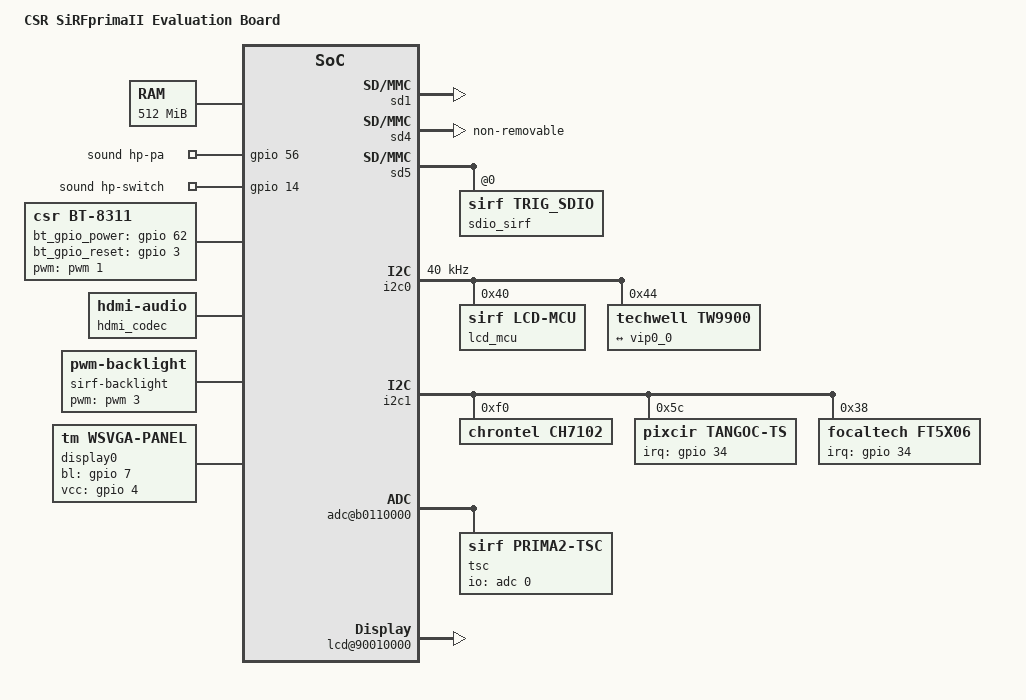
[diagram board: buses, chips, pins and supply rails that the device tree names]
/*
 * DTS file for CSR SiRFprimaII Evaluation Board
 *
 * Copyright (c) 2012 Cambridge Silicon Radio Limited, a CSR plc group company.
 *
 * Licensed under GPLv2 or later.
 */

/dts-v1/;

/include/ "prima2.dtsi"

/ {
	model = "CSR SiRFprimaII Evaluation Board";
	compatible = "sirf,prima2", "sirf,prima2-cb";

	memory {
		reg = <0x00000000 0x20000000>;
	};
	sound {
		compatible = "sirf,sirf-inner";
		sirf,inner-codec = <&audio>;
		sirf,inner-platform = <&audio>;
		hp-pa-gpios = <&gpio 56 0>;
		hp-switch-gpios = <&gpio 14 0>;
	};

	bt {
		compatible = "csr,bt-8311";
		bt_gpio_power = <&gpio 62 0>;
		bt_gpio_reset = <&gpio 3 0>;
		pinctrl-names = "default";
		pinctrl-0 = <&pwm1_pins_a>;
		pwms = <&pwm 1 30518>;
	};

	bt_sco: bt_sco@0 {
		#sound-dai-cells = <0>;
		compatible = "bt-sco";
		status = "okay";
	};

	sirf-bt-sco {
		compatible = "simple-audio-card";
		simple-audio-card,format = "dsp_a";
		simple-audio-card,cpu {
			sound-dai = <&usp0>;
		};
		simple-audio-card,codec {
			sound-dai = <&bt_sco>;
			bitclock-master;
			frame-master;
		};
	};

	hdmi_codec: hdmi_codec@0 {
		#sound-dai-cells = <0>;
		compatible = "linux,hdmi-audio";
		status = "okay";
	};

	sirf-hdmi {
		compatible = "simple-audio-card";
		simple-audio-card,format = "i2s";
		simple-audio-card,cpu {
			sound-dai = <&i2s>;
		};
		simple-audio-card,codec {
			sound-dai = <&hdmi_codec>;
			bitclock-master;
			frame-master;
		};
	};

	sirf-backlight {
		compatible = "pwm-backlight";
		pinctrl-names = "default";
		pinctrl-0 = <&pwm3_pins_a>;
		pwms = <&pwm 3 50000>;
		brightness-levels = <0 48 56 64 96 112 128 255>;
		default-brightness-level = <6>;
	};
	axi {
		peri-iobg {
			pci-iobg {
				sd1: sdhci@56100000 {
					status = "okay";
					pinctrl-names = "default";
					pinctrl-0 = <&sdmmc1_pins_a>;
				};
				sd4: sdhci@56400000 {
					status = "okay";
					non-removable;
					cap-power-off-card;
					pinctrl-names = "default";
					pinctrl-0 = <&sdmmc4_pins_a>;
				};
				sd5: sdhci@56500000 {
					status = "okay";
					pinctrl-names = "default";
					pinctrl-0 = <&sdmmc5_pins_a>;
					#address-cells = <1>;
					#size-cells = <0>;
					sdio_sirf@0 {
						compatible = "sirf,trig_sdio";
						reg = <0x0>;
					};
				};
			};

			uart@b0050000 {
				pinctrl-names = "default";
				pinctrl-0 = <&uart0_pins_a>;
				sirf,uart-has-rtscts;
			};
			uart@b0060000 {
				pinctrl-names = "default";
				pinctrl-0 = <&uart1_pins_a>;
			};
			usp@b0080000 {
				#sound-dai-cells = <0>;
				compatible = "sirf,prima2-usp-pcm";
				pinctrl-names = "default";
				pinctrl-0 = <&usp0_only_utfs_pins_a>;
			};
			usp@b0090000 {
				pinctrl-names = "default";
				pinctrl-0 = <&usp1_uart_nostreamctrl_pins_a>;
			};
			vip@b00C0000 {
				status = "okay";
				pinctrl-names = "default";
				pinctrl-0 = <&vip_pins_a>;
				power-gpio = <&gpio 9 0>;
				reset-gpio = <&gpio 12 0>;
				rearview-gpio = <&gpio 31 0>;
				port {
					#address-cells = <1>;
					#size-cells = <0>;
					vip0_0: endpoint@0 {
						reg = <0>;
						remote-endpoint = <&tw9900_1>;
						data-shift = <1>;	/* select pxd_data[7:0] as valid data */
					};
				};
			};
			i2c0: i2c@b00e0000 {
				status = "okay";
				pinctrl-names = "default";
				pinctrl-0 = <&i2c0_pins_a>;
				clock-frequency = <40000>;
				lcd_mcu: lcd_mcu@40{
					compatible = "sirf,lcd-mcu";
					reg = <0x40>;
				};
				tw9900: decoder@44 {
					compatible = "techwell,tw9900";
					reg = <0x44>;
					input-number = <2>;
					inputs = <&cvbs0 &cvbs1>;
					cvbs0: cvbs@0 {
						input-name = "camera";
						input-id = <0>;
					};
					cvbs1: cvbs@1 {
						input-name = "dvd";
						input-id = <1>;
					};
					port {
						tw9900_1: endpoint {
							remote-endpoint = <&vip0_0>;
						};
					};
				};

			};
			i2c1: i2c@b00f0000 {
				status = "okay";
				pinctrl-names = "default";
				pinctrl-0 = <&i2c1_pins_a>;
				ch7102@f0{
					compatible = "chrontel,ch7102";
					reg = <0xf0>;
				};
				tangoc-ts@5c{
					compatible = "pixcir,tangoc-ts";
					interrupt-parent = <&gpio>;
					interrupts = <34 0x02>;
					reg = <0x5c>;
				};
				ft5x06@38{
					compatible = "focaltech,ft5x06";
					interrupt-parent = <&gpio>;
					interrupts = <34 0x02>;
                                        reg = <0x38>;
                                };

			};
			pwm: pwm@b0130000 {
				/* sigsrc1(pll1) is used for dvfs, ignore it */
				clocks = <&clks 21>, <&clks 1>, <&clks 3>,
					<&clks 0>, <&clks 4>;
				clock-names = "pwmc", "sigsrc0", "sigsrc2",
					"sigsrc3", "sigsrc4";
			};
			adc@b0110000 {
				tsc {
					compatible = "sirf,prima2-tsc";
					interrupts = <33>;
					io-channels = <&adc 0>;
					io-channel-names = "single_ts";
				};
			};
			pulsec@b0150000 {
				pinctrl-names = "default";
				pinctrl-0 = <&pulse_count_pins_a>;
			};
		};
                disp-iobg {
                      lcd@90010000 {
				status = "okay";
				pinctrl-names = "default";
				pinctrl-0 = <&lcd_24pins_a>;
		      };
		};
	};

	display0: display@0 {
		compatible = "tm,WSVGA-panel", "rgb-panel";
		panel-ctrl = <&lcd_mcu>;
		source = "rgb.0";

		bl-gpios = <&gpio 7 0>;
		vcc-gpios = <&gpio 4 0>;
		power-vdd  = <0x00160015>;
		power-vee  = <0x00180017>;
		data-lines = <24>;

		display-timings {
			native-mode = <&timing0>;
			timing0: timing0 {
				clock-frequency = <51200000>;
				hactive = <1024>;
				vactive = <600>;
				hfront-porch = <288>;
				hback-porch = <28>;
				hsync-len = <4>;
				vback-porch = <8>;
				vfront-porch = <24>;
				vsync-len = <3>;
				hsync-active = <0>;
				vsync-active = <0>;
				de-active = <0>;
				pixelclk-active = <0>;
			};
		};
	};
};
